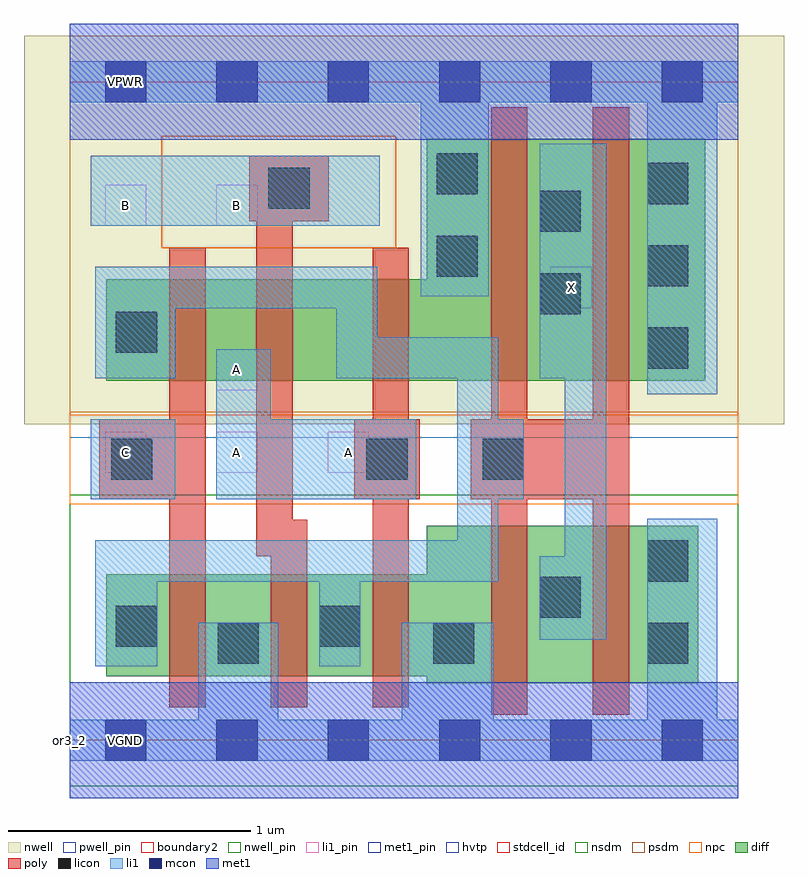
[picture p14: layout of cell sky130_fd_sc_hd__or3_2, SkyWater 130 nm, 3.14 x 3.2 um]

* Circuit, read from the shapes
.subckt sky130_fd_sc_hd__or3_2 A B C VGND VNB VPB VPWR X
XM1 VGND C n1 VNB sky130_fd_pr__nfet_01v8 w=0.42 l=0.15
XM2 n1 B VGND VNB sky130_fd_pr__nfet_01v8 w=0.42 l=0.15
XM3 VGND A n1 VNB sky130_fd_pr__nfet_01v8 w=0.42 l=0.15
XM4 X n1 VGND VNB sky130_fd_pr__nfet_01v8 w=0.65 l=0.15 m=2
XM5 n2 C n1 VPB sky130_fd_pr__pfet_01v8_hvt w=0.42 l=0.15
XM6 n3 B n2 VPB sky130_fd_pr__pfet_01v8_hvt w=0.42 l=0.15
XM7 VPWR A n3 VPB sky130_fd_pr__pfet_01v8_hvt w=0.42 l=0.15
XM8 X n1 VPWR VPB sky130_fd_pr__pfet_01v8_hvt w=1 l=0.15 m=2
.ends

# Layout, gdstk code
import gdstk
lib = gdstk.Library(unit=1e-6, precision=1e-09)
def R(c, l, rs):  # rectangles x0, y0, x1, y1
    for r in rs: c.add(gdstk.rectangle(r[:2], r[2:], *l))
def A(c, l, x, y, w, h, nx, ny, dx, dy):  # array of equal rectangles
    R(c, l, [(x+i*dx, y+j*dy, x+i*dx+w, y+j*dy+h) for i in range(nx) for j in range(ny)])
def P(c, l, *ps):  # polygons
    for p in ps: c.add(gdstk.Polygon(p, *l))
nwell_pin = (64, 16)
nwell = (64, 20)
diff = (65, 20)
poly = (66, 20)
licon = (66, 44)
li1_pin = (67, 16)
li1 = (67, 20)
mcon = (67, 44)
met1_pin = (68, 16)
met1 = (68, 20)
hvtp = (78, 44)
stdcell_id = (81, 4)
nsdm = (93, 44)
psdm = (94, 20)
npc = (95, 20)
pwell_pin = (122, 16)
boundary2 = (236, 0)

sky130_fd_sc_hd__or3_2 = lib.new_cell('sky130_fd_sc_hd__or3_2')
R(sky130_fd_sc_hd__or3_2, nwell_pin, [(0.145,2.635,0.315,2.805)])
R(sky130_fd_sc_hd__or3_2, nwell, [(-0.19,1.305,2.95,2.91)])
P(sky130_fd_sc_hd__or3_2, diff, [(2.625,2.485),(1.475,2.485),(1.475,1.905),(0.15,1.905),(0.15,1.485),(2.625,1.485)],
  [(2.595,0.885),(1.475,0.885),(1.475,0.685),(0.15,0.685),(0.15,0.265),(1.475,0.265),(1.475,0.235),(2.595,0.235)])
P(sky130_fd_sc_hd__or3_2, poly, [(1.07,2.415),(0.74,2.415),(0.74,2.145),(0.77,2.145),(0.77,0.76),(0.83,0.76),(0.83,0.135),(0.98,0.135),(0.98,0.91),(0.92,0.91),(0.92,2.145),(1.07,2.145)],
  [(2.31,2.615),(2.16,2.615),(2.16,1.325),(1.89,1.325),(1.89,2.615),(1.74,2.615),(1.74,1.325),(1.655,1.325),(1.655,0.995),(1.74,0.995),(1.74,0.105),(1.89,0.105),(1.89,0.995),(2.16,0.995),(2.16,0.105),(2.31,0.105)],
  [(1.445,1.325),(1.4,1.325),(1.4,2.035),(1.25,2.035),(1.25,1.325),(1.175,1.325),(1.175,0.995),(1.25,0.995),(1.25,0.135),(1.4,0.135),(1.4,0.995),(1.445,0.995)],
  [(0.56,2.035),(0.41,2.035),(0.41,1.325),(0.12,1.325),(0.12,0.995),(0.41,0.995),(0.41,0.135),(0.56,0.135)])
A(sky130_fd_sc_hd__or3_2, licon, 2.385, 1.535, 0.17, 0.17, 1, 3, 0, 0.34)
R(sky130_fd_sc_hd__or3_2, licon, [(0.61,0.315,0.78,0.485), (1.5,0.315,1.67,0.485), (2.385,0.315,2.555,0.485), (0.19,0.385,0.36,0.555), (1.03,0.385,1.2,0.555), (1.94,0.505,2.11,0.675), (2.385,0.655,2.555,0.825), (0.17,1.075,0.34,1.245), (1.225,1.075,1.395,1.245), (1.705,1.075,1.875,1.245), (0.19,1.6,0.36,1.77), (1.94,1.76,2.11,1.93), (1.515,1.915,1.685,2.085), (1.94,2.1,2.11,2.27), (0.82,2.195,0.99,2.365), (1.515,2.255,1.685,2.425)])
A(sky130_fd_sc_hd__or3_2, li1_pin, 0.145, 1.105, 0.17, 0.17, 3, 1, 0.46, 0)
R(sky130_fd_sc_hd__or3_2, li1_pin, [(0.605,1.445,0.775,1.615), (1.985,1.785,2.155,1.955), (0.145,2.125,0.315,2.295), (0.605,2.125,0.775,2.295)])
R(sky130_fd_sc_hd__or3_2, li1, [(0.085,0.995,0.435,1.325), (0.085,2.125,1.28,2.415)])
P(sky130_fd_sc_hd__or3_2, li1, [(1.875,1.325),(1.77,1.325),(1.77,1.665),(1.27,1.665),(1.27,1.955),(0.105,1.955),(0.105,1.495),(0.435,1.495),(0.435,1.785),(1.1,1.785),(1.1,1.495),(1.6,1.495),(1.6,0.825),(0.105,0.825),(0.105,0.305),(0.36,0.305),(0.36,0.655),(1.03,0.655),(1.03,0.305),(1.2,0.305),(1.2,0.655),(1.77,0.655),(1.77,0.995),(1.875,0.995)],
  [(1.43,1.325),(0.83,1.325),(0.83,1.615),(0.605,1.615),(0.605,0.995),(1.43,0.995)],
  [(2.76,0.085),(2.675,0.085),(2.675,0.915),(2.385,0.915),(2.385,0.085),(1.75,0.085),(1.75,0.485),(1.37,0.485),(1.37,0.085),(0.86,0.085),(0.86,0.485),(0.53,0.485),(0.53,0.085),(0,0.085),(0,-0.085),(2.76,-0.085)],
  [(2.76,2.805),(0,2.805),(0,2.635),(1.45,2.635),(1.45,1.835),(1.73,1.835),(1.73,2.635),(2.385,2.635),(2.385,1.43),(2.675,1.43),(2.675,2.635),(2.76,2.635)],
  [(2.215,2.465),(1.94,2.465),(1.94,1.495),(2.045,1.495),(2.045,0.76),(1.94,0.76),(1.94,0.415),(2.215,0.415)])
A(sky130_fd_sc_hd__or3_2, mcon, 0.145, -0.085, 0.17, 0.17, 6, 2, 0.46, 2.72)
R(sky130_fd_sc_hd__or3_2, met1_pin, [(0.145,-0.085,0.315,0.085), (0.145,2.635,0.315,2.805)])
R(sky130_fd_sc_hd__or3_2, hvtp, [(0,1.25,2.76,2.72)])
R(sky130_fd_sc_hd__or3_2, stdcell_id, [(0,0,2.76,2.72)])
R(sky130_fd_sc_hd__or3_2, nsdm, [(0,-0.19,2.76,1.015)])
P(sky130_fd_sc_hd__or3_2, psdm, [(2.76,2.91),(1.345,2.91),(1.345,2.035),(0.38,2.035),(0.38,2.495),(1.345,2.495),(1.345,2.91),(0,2.91),(0,1.355),(2.76,1.355)])
R(sky130_fd_sc_hd__or3_2, npc, [(0,0.975,2.76,1.345), (0.38,2.035,1.345,2.495)])
R(sky130_fd_sc_hd__or3_2, pwell_pin, [(0.145,-0.085,0.315,0.085)])
R(sky130_fd_sc_hd__or3_2, boundary2, [(0,0,2.76,2.72)])
sky130_fd_sc_hd__or3_2.add(gdstk.FlexPath([(0,2.72),(2.76,2.72)], 0.48, ends="flush", simple_path=True, layer=68, datatype=20))  # met1
sky130_fd_sc_hd__or3_2.add(gdstk.FlexPath([(0,0),(2.76,0)], 0.48, ends="flush", simple_path=True, layer=68, datatype=20))  # met1
sky130_fd_sc_hd__or3_2.add(gdstk.Label('A', (0.69,1.19), layer=67, texttype=5))
sky130_fd_sc_hd__or3_2.add(gdstk.Label('A', (1.15,1.19), layer=67, texttype=5))
sky130_fd_sc_hd__or3_2.add(gdstk.Label('B', (0.23,2.21), layer=67, texttype=5))
sky130_fd_sc_hd__or3_2.add(gdstk.Label('X', (2.07,1.87), layer=67, texttype=5))
sky130_fd_sc_hd__or3_2.add(gdstk.Label('A', (0.69,1.53), layer=67, texttype=5))
sky130_fd_sc_hd__or3_2.add(gdstk.Label('B', (0.69,2.21), layer=67, texttype=5))
sky130_fd_sc_hd__or3_2.add(gdstk.Label('C', (0.23,1.19), layer=67, texttype=5))
sky130_fd_sc_hd__or3_2.add(gdstk.Label('VGND', (0.23,0), layer=68, texttype=5))
sky130_fd_sc_hd__or3_2.add(gdstk.Label('VPWR', (0.23,2.72), layer=68, texttype=5))
sky130_fd_sc_hd__or3_2.add(gdstk.Label('VPB', (0.23,2.72), layer=64, texttype=5))
sky130_fd_sc_hd__or3_2.add(gdstk.Label('VNB', (0.23,0), layer=64, texttype=59))
sky130_fd_sc_hd__or3_2.add(gdstk.Label('or3_2', (0,0), layer=83, texttype=44))

lib.write_gds('sky130_fd_sc_hd__or3_2.gds')
